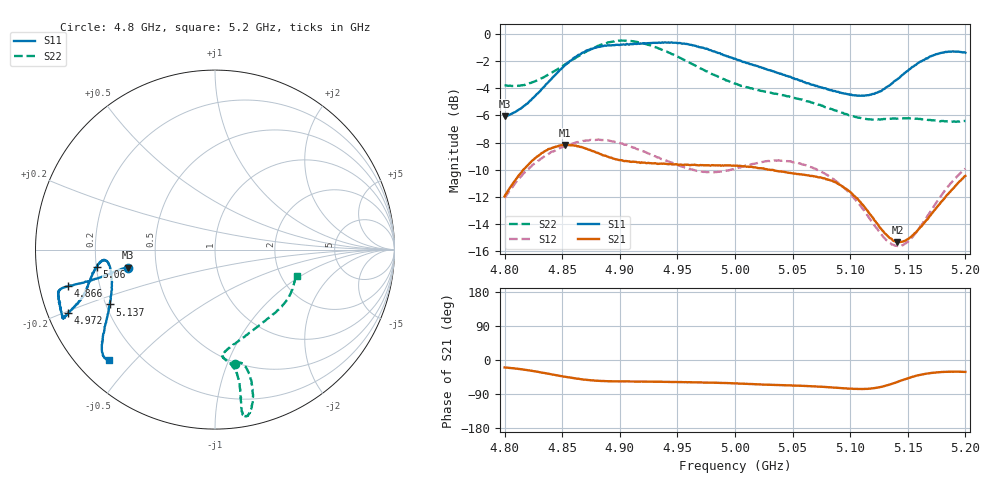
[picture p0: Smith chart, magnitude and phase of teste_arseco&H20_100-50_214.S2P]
! Network Analyzer HP8722D
! Hewlett-Packard
! Data name: Linha & Wilkinson
! Saver's name: Rodrigo Anjos
! Comments: Teste da utilização de aquisição
! continua pelo VNA HP8722D
! Time and date: 6/5/2025 14:21
!  Frequency  S11  S21  S12  S22
# HZ  S  MA R 50
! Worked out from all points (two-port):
!   401 points, 4.8 GHz to 5.2 GHz, reference 50 ohm
!   highest |S21| = -8.17 dB at 4.852 GHz (marker M1); lowest = -15.3 dB at 5.141 GHz (marker M2)
!   |S21| within 3 dB of the highest: 4.806 GHz to 5.092 GHz (286.6 MHz wide, 5.79 % of centre); 5.191485 GHz to end of sweep
!   lowest |S11| = -6.1 dB at 4.8 GHz (marker M3), VSWR 2.98, Z = 16.9 - j4.55 ohm
!   |S11| at or under -10 dB: nowhere
!   |S22| runs from -6.5 to -0.5 dB; largest |S21 - S12| = 0.62
!   S11 on the Smith chart (normalised r, x): 4.8 GHz: 0.34, -0.09; 4.866 GHz: 0.09, -0.12; 4.972 GHz: 0.06, -0.20; 5.06 GHz: 0.20, -0.07; 5.137 GHz: 0.22, -0.23; 5.2 GHz: 0.09, -0.42
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4.8e9  0.4972 -168.3  0.2527 -19.7  0.249 -141.1  0.6473 -80.3
4.825e9  0.5825 -167.5  0.3442 -29.2  0.3315 -144.4  0.6658 -75.8
4.852e9  0.764 -165.9  0.3903 -43.9  0.3863 -149.5  0.7697 -74.6
4.866e9  0.8428 -166.0  0.3838 -50.5  0.4017 -151.9  0.8372 -75.3
4.867e9  0.8498 -166.0  0.3836 -51.0  0.4026 -152.2  0.8435 -75.5
4.883e9  0.8974 -165.2  0.3615 -55.1  0.4075 -154.8  0.9107 -77.2
4.901e9  0.9144 -162.5  0.3434 -56.3  0.3952 -156.9  0.9459 -79.3
4.934e9  0.9291 -156.5  0.333 -57.6  0.3507 -155.7  0.8821 -80.5
4.972e9  0.89 -156.8  0.3292 -59.1  0.3112 -146.2  0.7406 -79.7
5e9  0.8109 -159.2  0.3274 -61.9  0.3195 -137.3  0.6559 -81.3
5.036e9  0.7215 -165.7  0.3135 -65.9  0.3417 -134.4  0.6017 -85.6
5.06e9  0.6649 -171.7  0.3035 -68.4  0.3304 -136.2  0.5694 -84.3
5.067e9  0.65 -173.1  0.3005 -69.3  0.323 -136.9  0.5582 -82.6
5.085e9  0.6163 -174.5  0.287 -72.7  0.2932 -138.5  0.5271 -75.8
5.101e9  0.5981 -172.0  0.2601 -75.9  0.2553 -138.8  0.5 -66.6
5.117e9  0.597 -164.9  0.2177 -75.5  0.2087 -135.1  0.4854 -55.1
5.134e9  0.6456 -154.3  0.1781 -65.1  0.1707 -120.6  0.4872 -43.3
5.137e9  0.6608 -152.5  0.1739 -62.3  0.1678 -116.7  0.4887 -41.5
5.141e9  0.6817 -150.2  0.1714 -57.7  0.1658 -111.6  0.4878 -39.1
5.153e9  0.7495 -145.1  0.1795 -45.4  0.1768 -96.1  0.4889 -32.8
5.172e9  0.8337 -139.1  0.2215 -33.6  0.2303 -81.1  0.4812 -24.6
5.2e9  0.8526 -133.6  0.3005 -31.5  0.3196 -77.0  0.4782 -17.6
